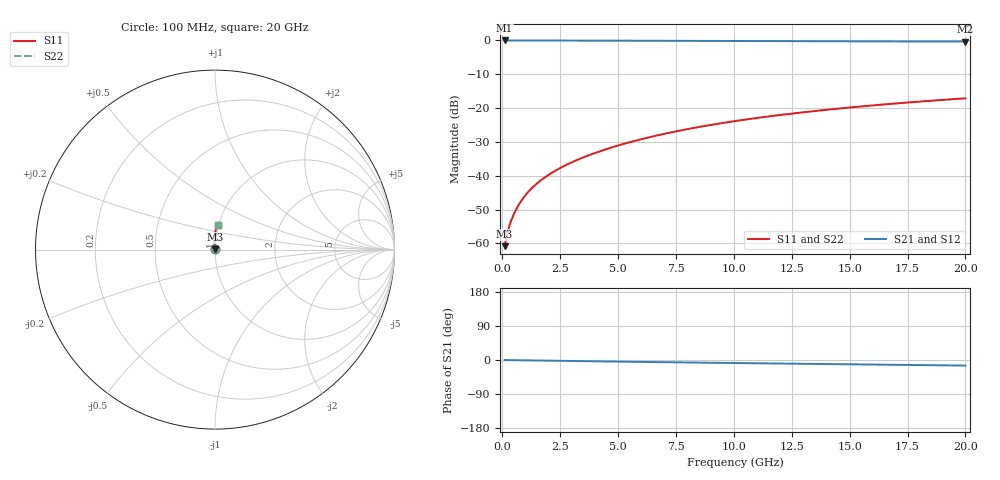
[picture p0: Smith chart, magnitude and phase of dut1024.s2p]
! Touchstone file exported from HFSS 2024.1.0
!  File:  C:/UserFiles/LocalFiles/RDL_TSV_Batchsim/temp_RDL_top_1024_1780043358.aedt
!  Generated:  04:31:46 PM May 29, 2026
!  Design:  RDL_top
!  Project:  temp_RDL_top_1024_1780043358
!  Setup:  Setup1
!  Solution:  Sweep
! Variables:
!  dtsv = 10.80580581um
!  hbump = 3um
!  htsv = 89.1um
!  ldown = 100um
!  lrdl = 195.02um
!  p = 40
!  p1 = 53.67um
!  rhole = 1um
!  t = 450um
!  tdown = 3.915915916um
!  trdl = 4.64um
!  wdown = 15.38538539um
!  wrdl = 29.77um
# GHz S MA R 50.000000
! Terminal data exported
! Port[1] = Box2_T1
! Port[2] = Box2_T2
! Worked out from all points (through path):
!   200 points, 100 MHz to 20 GHz, reference 50 ohm
!   highest |S21| = -0.01 dB at 100 MHz (marker M1); lowest = -0.3 dB at 20 GHz (marker M2)
!   group delay of S21, straight-line fit = 2.01 ps
!   lowest |S11| = -60.8 dB at 100 MHz (marker M3), VSWR 1.00, Z = 50.1 + j0.0583 ohm
!   |S11| at or under -10 dB: start of sweep to end of sweep
!   |S22| runs from -60.8 to -17.1 dB; largest |S21 - S12| = 2.5e-15
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0.1  0.0009088 39.8  0.9993 -0.1  0.9993 -0.1  0.0009088 39.8
! Gamma 0 0 0 0
! Port Impedance 50 0 50 0
0.2  0.001335 55.8  0.9992 -0.2  0.9992 -0.2  0.001335 55.8
0.3  0.00178 64.1  0.9992 -0.3  0.9992 -0.3  0.00178 64.1
0.4  0.002238 69.5  0.9991 -0.4  0.9991 -0.4  0.002238 69.5
0.5  0.002706 73.3  0.999 -0.5  0.999 -0.5  0.002707 73.3
0.6  0.003184 76.1  0.999 -0.5  0.999 -0.5  0.003184 76.1
0.8  0.00416 80.0  0.9988 -0.7  0.9988 -0.7  0.00416 80.0
1.1  0.005655 83.6  0.9986 -1.0  0.9986 -1.0  0.005655 83.6
1.5  0.007692 86.6  0.9982 -1.3  0.9982 -1.3  0.007692 86.6
1.8  0.009251 88.2  0.9978 -1.6  0.9978 -1.6  0.009251 88.2
2.1  0.01084 89.5  0.9974 -1.9  0.9974 -1.9  0.01084 89.5
2.7  0.01411 91.5  0.9964 -2.4  0.9964 -2.4  0.01411 91.5
3.5  0.01868 93.3  0.9948 -3.1  0.9948 -3.1  0.01868 93.3
4.2  0.0229 94.3  0.9933 -3.6  0.9933 -3.6  0.0229 94.3
5  0.02798 95.1  0.9914 -4.3  0.9914 -4.3  0.02798 95.1
6.8  0.04023 95.4  0.987 -5.7  0.987 -5.7  0.04023 95.4
8.4  0.05183 94.7  0.9832 -6.8  0.9832 -6.8  0.05183 94.7
10.1  0.06458 93.5  0.9795 -8.0  0.9795 -8.0  0.06458 93.5
11.7  0.07676 92.0  0.9762 -9.1  0.9762 -9.1  0.07676 92.0
13.4  0.08976 90.3  0.9729 -10.3  0.9729 -10.3  0.08976 90.3
16.7  0.1148 87.0  0.967 -12.5  0.967 -12.5  0.1148 87.0
20  0.1394 83.8  0.9613 -14.8  0.9613 -14.8  0.1394 83.8
